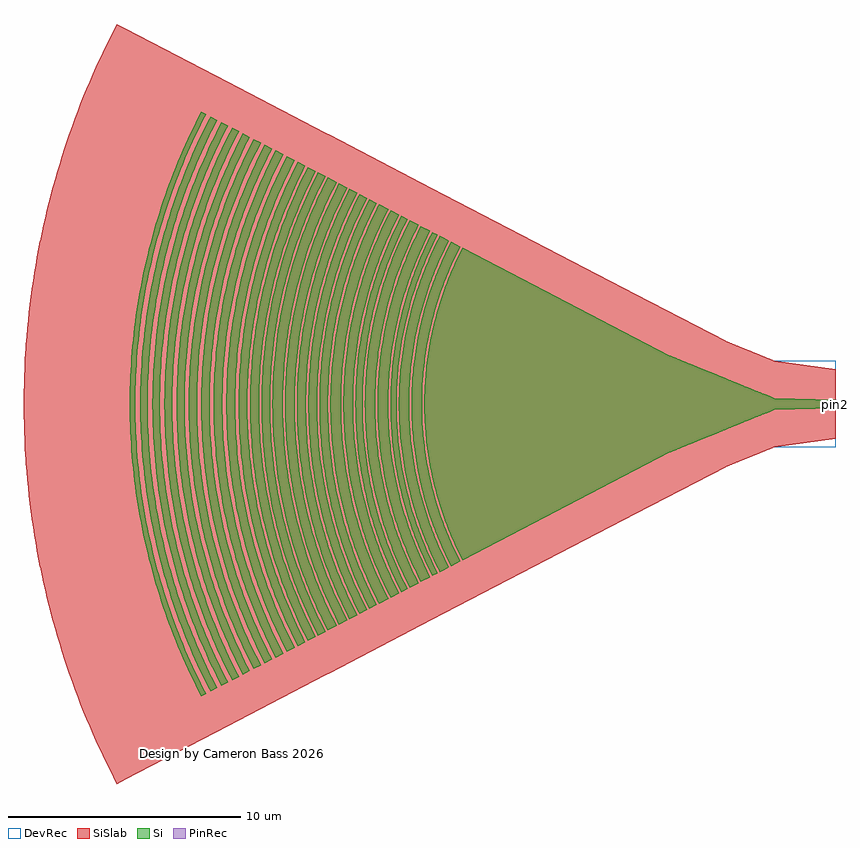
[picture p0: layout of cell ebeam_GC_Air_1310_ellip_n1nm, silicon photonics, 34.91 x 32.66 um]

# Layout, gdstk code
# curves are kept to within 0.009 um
import gdstk
lib = gdstk.Library(unit=1e-6, precision=1e-09)
def P(c, l, *ps):  # polygons
    for p in ps: c.add(gdstk.Polygon(p, *l))
Si = (1, 0)
PinRec = (1, 10)
SiSlab = (2, 0)
DevRec = (68, 0)

ebeam_gc_air_1310_ellip_ = lib.new_cell('ebeam_GC_Air_1310_ellip_n1nm')
P(ebeam_gc_air_1310_ellip_, Si, [(-16.048,-6.715),(-16.409,-5.969),(-16.783,-5.053),(-17.012,-4.384),(-17.277,-3.431),(-17.453,-2.601),(-17.58,-1.763),(-17.658,-0.918),(-17.686,-0.071),(-17.658,0.918),(-17.58,1.763),(-17.453,2.602),(-17.277,3.431),(-17.012,4.384),(-16.783,5.053),(-16.409,5.969),(-16.048,6.715),(-7.151,2.082),(-3.185,0.463),(-2.877,0.349),(-2.692,0.261),(-2.649,0.249),(0,0.175),(0,-0.175),(-2.677,-0.256),(-2.846,-0.336),(-3.2,-0.469),(-7.123,-2.069)],
  [(-16.54,-6.97),(-16.912,-6.199),(-17.249,-5.385),(-17.538,-4.553),(-17.778,-3.706),(-17.969,-2.846),(-18.109,-1.976),(-18.208,-0.954),(-18.238,-0.073),(-18.217,0.807),(-18.127,1.831),(-17.996,2.702),(-17.813,3.563),(-17.704,3.99),(-17.538,4.553),(-17.249,5.385),(-16.912,6.199),(-16.54,6.971),(-16.138,6.762),(-16.502,6.01),(-16.829,5.221),(-17.109,4.415),(-17.342,3.593),(-17.553,2.62),(-17.681,1.775),(-17.768,0.783),(-17.788,0.071),(-17.768,-0.783),(-17.681,-1.775),(-17.553,-2.619),(-17.376,-3.455),(-17.151,-4.279),(-16.879,-5.088),(-16.502,-6.01),(-16.138,-6.762)],
  [(-17.021,-7.221),(-17.406,-6.423),(-17.755,-5.58),(-18.054,-4.718),(-18.303,-3.84),(-18.5,-2.949),(-18.645,-2.048),(-18.738,-1.14),(-18.765,-0.684),(-18.779,-0.076),(-18.757,0.836),(-18.682,1.746),(-18.625,2.199),(-18.528,2.799),(-18.339,3.692),(-18.185,4.281),(-18.054,4.718),(-17.755,5.58),(-17.406,6.423),(-17.021,7.221),(-16.629,7.018),(-17.065,6.105),(-17.396,5.283),(-17.679,4.442),(-17.913,3.587),(-18.096,2.72),(-18.229,1.843),(-18.31,0.96),(-18.34,0.074),(-18.319,-0.812),(-18.229,-1.843),(-18.096,-2.72),(-17.913,-3.587),(-17.679,-4.442),(-17.396,-5.283),(-17.065,-6.105),(-16.629,-7.018)],
  [(-17.341,-7.388),(-17.735,-6.571),(-18.092,-5.709),(-18.398,-4.827),(-18.653,-3.929),(-18.855,-3.017),(-18.936,-2.557),(-19.023,-1.941),(-19.109,-1.011),(-19.14,-0.078),(-19.118,0.856),(-19.023,1.941),(-18.883,2.864),(-18.69,3.778),(-18.444,4.678),(-18.147,5.563),(-17.979,5.999),(-17.735,6.572),(-17.341,7.388),(-17.111,7.268),(-17.561,6.324),(-17.795,5.759),(-17.956,5.329),(-18.105,4.894),(-18.283,4.308),(-18.402,3.865),(-18.54,3.268),(-18.704,2.364),(-18.8,1.605),(-18.859,0.842),(-18.881,0.077),(-18.866,-0.689),(-18.815,-1.452),(-18.704,-2.364),(-18.571,-3.118),(-18.474,-3.567),(-18.324,-4.16),(-18.197,-4.602),(-18.007,-5.184),(-17.795,-5.758),(-17.561,-6.324),(-17.111,-7.268)],
  [(-17.837,-7.646),(-18.309,-6.654),(-18.67,-5.758),(-18.978,-4.842),(-19.232,-3.91),(-19.432,-2.964),(-19.576,-2.009),(-19.665,-1.046),(-19.698,-0.08),(-19.674,0.886),(-19.595,1.849),(-19.46,2.806),(-19.339,3.439),(-19.232,3.91),(-18.978,4.842),(-18.67,5.758),(-18.496,6.209),(-18.244,6.802),(-17.837,7.646),(-17.431,7.435),(-17.892,6.47),(-18.187,5.745),(-18.496,4.857),(-18.752,3.954),(-18.984,2.882),(-19.124,1.953),(-19.188,1.33),(-19.22,0.861),(-19.242,0.078),(-19.22,-0.861),(-19.188,-1.33),(-19.124,-1.953),(-18.984,-2.882),(-18.789,-3.801),(-18.542,-4.708),(-18.242,-5.598),(-17.892,-6.47),(-17.431,-7.435)],
  [(-18.317,-7.896),(-18.738,-7.023),(-18.998,-6.411),(-19.177,-5.946),(-19.496,-5),(-19.758,-4.037),(-19.964,-3.061),(-20.114,-2.074),(-20.205,-1.081),(-20.239,-0.083),(-20.215,0.915),(-20.133,1.909),(-19.993,2.897),(-19.797,3.876),(-19.634,4.521),(-19.496,5),(-19.177,5.946),(-18.998,6.411),(-18.738,7.024),(-18.317,7.896),(-17.928,7.694),(-18.339,6.843),(-18.531,6.397),(-18.767,5.793),(-19.077,4.872),(-19.333,3.934),(-19.534,2.982),(-19.679,2.021),(-19.769,1.053),(-19.802,0.081),(-19.778,-0.891),(-19.698,-1.86),(-19.562,-2.823),(-19.473,-3.301),(-19.333,-3.933),(-19.077,-4.871),(-18.767,-5.793),(-18.531,-6.396),(-18.339,-6.843),(-17.928,-7.694)],
  [(-18.679,-8.084),(-19.11,-7.19),(-19.501,-6.246),(-19.836,-5.281),(-20.028,-4.628),(-20.155,-4.133),(-20.366,-3.134),(-20.519,-2.123),(-20.613,-1.106),(-20.647,-0.085),(-20.623,0.936),(-20.539,1.955),(-20.396,2.966),(-20.268,3.635),(-20.155,4.133),(-20.028,4.628),(-19.836,5.281),(-19.501,6.246),(-19.11,7.19),(-18.679,8.084),(-18.407,7.944),(-18.692,7.369),(-18.899,6.912),(-19.155,6.294),(-19.331,5.824),(-19.494,5.349),(-19.688,4.709),(-19.818,4.224),(-19.969,3.572),(-20.148,2.584),(-20.253,1.754),(-20.318,0.92),(-20.342,0.084),(-20.318,-0.92),(-20.253,-1.754),(-20.148,-2.584),(-20.003,-3.408),(-19.897,-3.898),(-19.733,-4.547),(-19.545,-5.189),(-19.387,-5.666),(-19.155,-6.293),(-18.966,-6.758),(-18.692,-7.369),(-18.407,-7.943)],
  [(-19.137,-8.323),(-19.581,-7.403),(-19.856,-6.757),(-20.045,-6.267),(-20.38,-5.27),(-20.657,-4.255),(-20.874,-3.226),(-21.032,-2.186),(-21.128,-1.139),(-21.164,-0.088),(-21.154,0.614),(-21.128,1.139),(-21.032,2.186),(-20.874,3.226),(-20.657,4.255),(-20.38,5.27),(-20.045,6.267),(-19.652,7.243),(-19.435,7.721),(-19.137,8.323),(-18.77,8.132),(-19.205,7.232),(-19.473,6.601),(-19.657,6.122),(-19.985,5.148),(-20.256,4.157),(-20.468,3.152),(-20.622,2.136),(-20.716,1.113),(-20.751,0.086),(-20.726,-0.942),(-20.642,-1.966),(-20.498,-2.983),(-20.404,-3.488),(-20.256,-4.157),(-19.985,-5.148),(-19.657,-6.122),(-19.274,-7.075),(-19.062,-7.543),(-18.77,-8.132)],
  [(-19.636,-8.583),(-20.092,-7.636),(-20.507,-6.634),(-20.862,-5.609),(-21.158,-4.565),(-21.392,-3.506),(-21.565,-2.435),(-21.675,-1.355),(-21.706,-0.814),(-21.724,-0.09),(-21.698,0.994),(-21.608,2.076),(-21.457,3.15),(-21.321,3.86),(-21.201,4.39),(-20.916,5.436),(-20.692,6.124),(-20.507,6.634),(-20.092,7.636),(-19.636,8.583),(-19.228,8.371),(-19.675,7.444),(-20.08,6.467),(-20.26,5.97),(-20.479,5.3),(-20.715,4.45),(-20.943,3.418),(-21.112,2.374),(-21.19,1.673),(-21.231,1.145),(-21.267,0.088),(-21.262,-0.441),(-21.231,-1.145),(-21.134,-2.198),(-20.976,-3.244),(-20.757,-4.279),(-20.479,-5.299),(-20.26,-5.97),(-20.08,-6.467),(-19.675,-7.444),(-19.228,-8.371)],
  [(-20.051,-8.799),(-20.52,-7.826),(-20.945,-6.799),(-21.31,-5.748),(-21.613,-4.678),(-21.853,-3.593),(-22.03,-2.495),(-22.143,-1.389),(-22.175,-0.834),(-22.193,-0.093),(-22.166,1.019),(-22.075,2.127),(-22.005,2.679),(-21.887,3.411),(-21.657,4.499),(-21.364,5.571),(-21.01,6.625),(-20.595,7.657),(-20.365,8.163),(-20.051,8.799),(-19.73,8.632),(-19.96,8.172),(-20.264,7.512),(-20.475,7.009),(-20.733,6.329),(-20.965,5.64),(-21.17,4.942),(-21.347,4.237),(-21.463,3.703),(-21.62,2.808),(-21.734,1.906),(-21.805,1),(-21.831,0.091),(-21.821,-0.636),(-21.752,-1.725),(-21.647,-2.628),(-21.463,-3.703),(-21.347,-4.236),(-21.17,-4.942),(-20.965,-5.639),(-20.733,-6.329),(-20.475,-7.008),(-20.264,-7.511),(-19.96,-8.172),(-19.73,-8.632)],
  [(-20.471,-9.018),(-20.953,-8.019),(-21.389,-6.966),(-21.762,-5.89),(-22.073,-4.794),(-22.204,-4.239),(-22.354,-3.495),(-22.524,-2.368),(-22.629,-1.234),(-22.668,-0.095),(-22.64,1.044),(-22.546,2.18),(-22.387,3.308),(-22.283,3.868),(-22.118,4.61),(-21.926,5.344),(-21.762,5.89),(-21.389,6.966),(-20.953,8.019),(-20.471,9.018),(-20.142,8.847),(-20.459,8.206),(-20.764,7.526),(-21.042,6.835),(-21.233,6.309),(-21.408,5.779),(-21.618,5.064),(-21.801,4.341),(-21.919,3.795),(-22.08,2.877),(-22.197,1.953),(-22.269,1.024),(-22.296,0.093),(-22.278,-0.838),(-22.215,-1.768),(-22.107,-2.693),(-21.919,-3.795),(-21.801,-4.341),(-21.618,-5.064),(-21.408,-5.779),(-21.233,-6.309),(-20.975,-7.008),(-20.764,-7.526),(-20.459,-8.206),(-20.142,-8.847)],
  [(-20.906,-9.244),(-21.401,-8.217),(-21.847,-7.139),(-22.23,-6.036),(-22.549,-4.913),(-22.683,-4.344),(-22.837,-3.581),(-23.012,-2.427),(-23.119,-1.264),(-23.158,-0.097),(-23.153,0.487),(-23.119,1.264),(-23.012,2.427),(-22.837,3.582),(-22.595,4.724),(-22.288,5.85),(-21.916,6.957),(-21.48,8.04),(-21.238,8.571),(-20.906,9.244),(-20.566,9.067),(-20.893,8.407),(-21.205,7.71),(-21.49,7.002),(-21.686,6.464),(-21.866,5.92),(-22.081,5.188),(-22.224,4.633),(-22.389,3.888),(-22.554,2.948),(-22.674,2.001),(-22.748,1.05),(-22.776,0.096),(-22.757,-0.859),(-22.693,-1.811),(-22.582,-2.759),(-22.389,-3.888),(-22.224,-4.633),(-22.081,-5.188),(-21.866,-5.92),(-21.686,-6.464),(-21.49,-7.002),(-21.205,-7.71),(-20.893,-8.407),(-20.566,-9.067)],
  [(-21.357,-9.479),(-21.698,-8.79),(-21.945,-8.244),(-22.177,-7.692),(-22.392,-7.134),(-22.774,-5.999),(-23.089,-4.844),(-23.337,-3.673),(-23.516,-2.489),(-23.626,-1.296),(-23.666,-0.1),(-23.661,0.499),(-23.626,1.297),(-23.516,2.489),(-23.337,3.673),(-23.089,4.844),(-22.774,5.999),(-22.392,7.134),(-22.177,7.693),(-21.945,8.245),(-21.698,8.79),(-21.357,9.479),(-20.996,9.291),(-21.495,8.259),(-21.944,7.175),(-22.329,6.066),(-22.497,5.504),(-22.695,4.747),(-22.938,3.599),(-23.114,2.439),(-23.221,1.271),(-23.25,0.685),(-23.261,0.098),(-23.242,-0.88),(-23.176,-1.856),(-23.063,-2.827),(-22.865,-3.983),(-22.695,-4.747),(-22.497,-5.504),(-22.329,-6.066),(-22.079,-6.808),(-21.801,-7.539),(-21.574,-8.08),(-21.247,-8.79),(-20.996,-9.291)],
  [(-21.845,-9.732),(-22.105,-9.212),(-22.447,-8.467),(-22.685,-7.9),(-22.906,-7.326),(-23.111,-6.747),(-23.298,-6.161),(-23.469,-5.57),(-23.622,-4.975),(-23.758,-4.375),(-23.876,-3.772),(-23.977,-3.165),(-24.06,-2.556),(-24.173,-1.331),(-24.203,-0.717),(-24.214,-0.102),(-24.185,1.127),(-24.084,2.353),(-23.977,3.165),(-23.876,3.772),(-23.758,4.375),(-23.622,4.975),(-23.469,5.571),(-23.298,6.161),(-23.111,6.747),(-22.906,7.327),(-22.685,7.9),(-22.447,8.467),(-22.193,9.027),(-21.845,9.733),(-21.447,9.526),(-21.958,8.468),(-22.418,7.357),(-22.813,6.22),(-23.141,5.063),(-23.28,4.477),(-23.401,3.888),(-23.593,2.7),(-23.715,1.503),(-23.75,0.902),(-23.769,0.1),(-23.74,-1.103),(-23.682,-1.903),(-23.618,-2.501),(-23.438,-3.691),(-23.189,-4.868),(-22.872,-6.029),(-22.489,-7.169),(-22.039,-8.285),(-21.791,-8.833),(-21.447,-9.526)],
  [(-22.259,-9.948),(-22.79,-8.845),(-23.039,-8.268),(-23.271,-7.684),(-23.485,-7.094),(-23.745,-6.297),(-24.076,-5.085),(-24.335,-3.855),(-24.438,-3.235),(-24.523,-2.612),(-24.59,-1.987),(-24.639,-1.361),(-24.681,-0.105),(-24.675,0.524),(-24.651,1.152),(-24.548,2.404),(-24.469,3.028),(-24.372,3.649),(-24.257,4.267),(-24.076,5.085),(-23.745,6.297),(-23.553,6.896),(-23.271,7.684),(-23.039,8.269),(-22.79,8.846),(-22.259,9.948),(-21.935,9.78),(-22.286,9.07),(-22.541,8.508),(-22.856,7.747),(-23.073,7.168),(-23.273,6.584),(-23.512,5.796),(-23.672,5.199),(-23.858,4.396),(-23.977,3.79),(-24.078,3.18),(-24.207,2.159),(-24.287,1.132),(-24.317,0.103),(-24.311,-0.515),(-24.287,-1.132),(-24.207,-2.159),(-24.078,-3.18),(-23.977,-3.79),(-23.858,-4.396),(-23.672,-5.199),(-23.512,-5.795),(-23.273,-6.583),(-23.073,-7.168),(-22.78,-7.938),(-22.541,-8.507),(-22.286,-9.07),(-21.935,-9.78)],
  [(-22.693,-10.174),(-22.967,-9.627),(-23.238,-9.044),(-23.493,-8.454),(-23.73,-7.857),(-23.949,-7.253),(-24.151,-6.643),(-24.393,-5.821),(-24.553,-5.199),(-24.695,-4.572),(-24.818,-3.942),(-24.924,-3.308),(-25.011,-2.671),(-25.079,-2.032),(-25.129,-1.391),(-25.16,-0.75),(-25.172,-0.107),(-25.166,0.536),(-25.141,1.178),(-25.098,1.819),(-25.036,2.458),(-24.955,3.096),(-24.856,3.731),(-24.695,4.572),(-24.553,5.199),(-24.393,5.821),(-24.214,6.439),(-24.018,7.051),(-23.805,7.657),(-23.574,8.256),(-23.325,8.849),(-22.967,9.627),(-22.693,10.174),(-22.352,9.997),(-22.712,9.27),(-22.973,8.695),(-23.295,7.917),(-23.516,7.326),(-23.785,6.528),(-23.965,5.923),(-24.129,5.313),(-24.319,4.493),(-24.511,3.459),(-24.654,2.416),(-24.745,1.367),(-24.776,0.737),(-24.788,0.105),(-24.768,-0.947),(-24.731,-1.577),(-24.676,-2.206),(-24.544,-3.25),(-24.361,-4.287),(-24.228,-4.904),(-24.022,-5.72),(-23.785,-6.528),(-23.516,-7.326),(-23.295,-7.917),(-22.973,-8.695),(-22.712,-9.27),(-22.352,-9.997)],
  [(-23.125,-10.399),(-23.408,-9.834),(-23.685,-9.239),(-23.945,-8.636),(-24.188,-8.026),(-24.412,-7.409),(-24.619,-6.786),(-24.807,-6.157),(-24.977,-5.523),(-25.128,-4.885),(-25.261,-4.242),(-25.375,-3.595),(-25.47,-2.946),(-25.546,-2.294),(-25.618,-1.421),(-25.65,-0.766),(-25.662,-0.109),(-25.656,0.547),(-25.631,1.203),(-25.586,1.858),(-25.523,2.511),(-25.44,3.163),(-25.301,4.027),(-25.174,4.671),(-25.029,5.311),(-24.865,5.947),(-24.683,6.577),(-24.483,7.203),(-24.265,7.822),(-24.028,8.434),(-23.774,9.039),(-23.503,9.637),(-23.125,10.399),(-22.8,10.231),(-23.17,9.482),(-23.523,8.697),(-23.767,8.099),(-23.993,7.494),(-24.268,6.678),(-24.453,6.059),(-24.672,5.226),(-24.815,4.596),(-25.012,3.538),(-25.105,2.899),(-25.18,2.257),(-25.263,1.184),(-25.295,0.108),(-25.274,-0.969),(-25.18,-2.257),(-25.012,-3.538),(-24.815,-4.596),(-24.672,-5.226),(-24.453,-6.059),(-24.268,-6.678),(-23.993,-7.494),(-23.767,-8.099),(-23.437,-8.894),(-23.17,-9.482),(-22.8,-10.23)],
  [(-23.594,-10.644),(-23.887,-10.059),(-24.171,-9.451),(-24.437,-8.834),(-24.685,-8.21),(-24.915,-7.579),(-25.126,-6.942),(-25.319,-6.298),(-25.493,-5.65),(-25.648,-4.996),(-25.783,-4.339),(-25.935,-3.456),(-26.026,-2.791),(-26.097,-2.123),(-26.149,-1.454),(-26.182,-0.783),(-26.195,-0.112),(-26.188,0.56),(-26.162,1.231),(-26.117,1.901),(-26.052,2.569),(-25.967,3.235),(-25.863,3.899),(-25.695,4.778),(-25.546,5.433),(-25.379,6.083),(-25.192,6.728),(-24.987,7.368),(-24.764,8.001),(-24.522,8.627),(-24.262,9.246),(-23.984,9.858),(-23.594,10.644),(-23.258,10.469),(-23.545,9.897),(-23.913,9.097),(-24.169,8.488),(-24.482,7.665),(-24.696,7.04),(-24.953,6.197),(-25.177,5.345),(-25.323,4.701),(-25.525,3.618),(-25.674,2.527),(-25.737,1.87),(-25.782,1.211),(-25.814,0.11),(-25.793,-0.991),(-25.755,-1.65),(-25.697,-2.308),(-25.559,-3.401),(-25.45,-4.052),(-25.323,-4.701),(-25.177,-5.345),(-24.953,-6.197),(-24.696,-7.039),(-24.482,-7.664),(-24.169,-8.488),(-23.913,-9.097),(-23.545,-9.897),(-23.258,-10.469)],
  [(-24.077,-10.895),(-24.38,-10.291),(-24.67,-9.668),(-24.943,-9.037),(-25.197,-8.399),(-25.432,-7.754),(-25.716,-6.883),(-25.907,-6.223),(-26.078,-5.558),(-26.23,-4.888),(-26.363,-4.214),(-26.476,-3.536),(-26.569,-2.855),(-26.642,-2.172),(-26.695,-1.487),(-26.729,-0.801),(-26.742,-0.114),(-26.735,0.573),(-26.709,1.259),(-26.662,1.944),(-26.569,2.856),(-26.476,3.536),(-26.363,4.214),(-26.23,4.888),(-26.078,5.558),(-25.907,6.223),(-25.716,6.883),(-25.432,7.754),(-25.197,8.399),(-24.943,9.038),(-24.67,9.668),(-24.38,10.291),(-24.077,10.895),(-23.746,10.723),(-24.14,9.928),(-24.42,9.312),(-24.766,8.479),(-25.003,7.846),(-25.291,6.991),(-25.485,6.343),(-25.715,5.471),(-25.864,4.812),(-26.071,3.704),(-26.224,2.587),(-26.322,1.464),(-26.355,0.789),(-26.368,0.113),(-26.346,-1.014),(-26.306,-1.689),(-26.248,-2.363),(-26.106,-3.481),(-25.91,-4.591),(-25.767,-5.252),(-25.546,-6.126),(-25.291,-6.991),(-25.003,-7.846),(-24.766,-8.479),(-24.42,-9.312),(-24.043,-10.131),(-23.746,-10.723)],
  [(-24.547,-11.14),(-24.859,-10.519),(-25.156,-9.882),(-25.435,-9.237),(-25.694,-8.585),(-25.935,-7.925),(-26.156,-7.259),(-26.42,-6.361),(-26.596,-5.681),(-26.751,-4.996),(-26.887,-4.307),(-27.002,-3.614),(-27.097,-2.919),(-27.172,-2.22),(-27.227,-1.52),(-27.261,-0.819),(-27.274,-0.117),(-27.261,0.819),(-27.227,1.521),(-27.172,2.221),(-27.097,2.919),(-27.002,3.614),(-26.887,4.307),(-26.751,4.996),(-26.596,5.681),(-26.42,6.361),(-26.156,7.259),(-25.935,7.925),(-25.694,8.585),(-25.435,9.238),(-25.156,9.882),(-24.859,10.519),(-24.547,11.14),(-24.227,10.974),(-24.634,10.155),(-24.921,9.525),(-25.189,8.887),(-25.517,8.025),(-25.812,7.151),(-26.01,6.489),(-26.19,5.82),(-26.398,4.922),(-26.61,3.789),(-26.766,2.646),(-26.867,1.498),(-26.9,0.807),(-26.913,0.115),(-26.907,-0.576),(-26.88,-1.268),(-26.79,-2.417),(-26.71,-3.104),(-26.61,-3.789),(-26.398,-4.922),(-26.19,-5.82),(-26.01,-6.488),(-25.812,-7.151),(-25.517,-8.025),(-25.189,-8.887),(-24.921,-9.525),(-24.634,-10.155),(-24.227,-10.974)],
  [(-25.02,-11.386),(-25.34,-10.749),(-25.644,-10.099),(-25.928,-9.44),(-26.194,-8.773),(-26.439,-8.099),(-26.665,-7.418),(-26.872,-6.73),(-27.058,-6.037),(-27.223,-5.339),(-27.369,-4.636),(-27.493,-3.93),(-27.598,-3.22),(-27.681,-2.507),(-27.744,-1.792),(-27.795,-0.837),(-27.809,-0.12),(-27.802,0.598),(-27.774,1.315),(-27.725,2.031),(-27.656,2.745),(-27.565,3.457),(-27.413,4.401),(-27.274,5.106),(-27.115,5.805),(-26.936,6.5),(-26.736,7.19),(-26.517,7.873),(-26.194,8.773),(-25.928,9.44),(-25.644,10.099),(-25.34,10.749),(-25.02,11.386),(-24.707,11.224),(-25.125,10.383),(-25.418,9.739),(-25.692,9.087),(-26.028,8.206),(-26.257,7.537),(-26.532,6.635),(-26.716,5.951),(-26.929,5.033),(-27.145,3.874),(-27.305,2.706),(-27.374,2.002),(-27.422,1.296),(-27.456,0.118),(-27.449,-0.589),(-27.422,-1.296),(-27.33,-2.471),(-27.182,-3.641),(-27.066,-4.339),(-26.929,-5.033),(-26.716,-5.951),(-26.532,-6.634),(-26.257,-7.537),(-26.028,-8.206),(-25.692,-9.087),(-25.418,-9.739),(-25.023,-10.596),(-24.707,-11.223)],
  [(-25.482,-11.626),(-25.809,-10.975),(-26.119,-10.311),(-26.409,-9.638),(-26.68,-8.957),(-26.931,-8.269),(-27.162,-7.574),(-27.373,-6.872),(-27.563,-6.164),(-27.784,-5.213),(-27.925,-4.494),(-28.046,-3.771),(-28.145,-3.045),(-28.223,-2.317),(-28.28,-1.586),(-28.315,-0.855),(-28.33,-0.122),(-28.315,0.855),(-28.28,1.586),(-28.223,2.317),(-28.145,3.045),(-28.046,3.771),(-27.925,4.494),(-27.784,5.213),(-27.621,5.927),(-27.438,6.637),(-27.235,7.34),(-27.011,8.038),(-26.766,8.729),(-26.502,9.412),(-26.218,10.088),(-25.809,10.975),(-25.482,11.626),(-25.181,11.47),(-25.609,10.61),(-25.908,9.952),(-26.278,9.062),(-26.532,8.385),(-26.84,7.472),(-27.047,6.78),(-27.235,6.081),(-27.402,5.378),(-27.548,4.67),(-27.674,3.959),(-27.837,2.765),(-27.907,2.046),(-27.956,1.325),(-27.991,0.121),(-27.968,-1.084),(-27.926,-1.805),(-27.863,-2.525),(-27.779,-3.243),(-27.674,-3.958),(-27.453,-5.142),(-27.235,-6.081),(-27.047,-6.779),(-26.84,-7.472),(-26.532,-8.385),(-26.278,-9.062),(-25.908,-9.952),(-25.609,-10.61),(-25.181,-11.47)],
  [(-25.947,-11.868),(-26.281,-11.203),(-26.598,-10.525),(-26.894,-9.839),(-27.171,-9.144),(-27.427,-8.441),(-27.663,-7.731),(-27.878,-7.015),(-28.072,-6.292),(-28.297,-5.321),(-28.442,-4.587),(-28.564,-3.849),(-28.666,-3.108),(-28.746,-2.365),(-28.804,-1.619),(-28.84,-0.872),(-28.854,-0.125),(-28.84,0.872),(-28.804,1.619),(-28.746,2.365),(-28.666,3.109),(-28.564,3.85),(-28.442,4.587),(-28.297,5.321),(-28.131,6.05),(-27.945,6.775),(-27.737,7.493),(-27.508,8.205),(-27.259,8.91),(-26.989,9.608),(-26.598,10.525),(-26.281,11.203),(-25.947,11.869),(-25.651,11.715),(-25.982,11.058),(-26.394,10.164),(-26.68,9.483),(-27.031,8.563),(-27.27,7.865),(-27.558,6.924),(-27.749,6.211),(-27.972,5.252),(-28.197,4.043),(-28.364,2.824),(-28.436,2.089),(-28.486,1.353),(-28.522,0.123),(-28.514,-0.615),(-28.486,-1.353),(-28.39,-2.579),(-28.235,-3.799),(-28.114,-4.527),(-27.972,-5.252),(-27.808,-5.972),(-27.558,-6.923),(-27.27,-7.865),(-27.031,-8.563),(-26.68,-9.483),(-26.394,-10.163),(-25.982,-11.057),(-25.651,-11.715)],
  [(-26.406,-12.107),(-26.747,-11.428),(-27.07,-10.737),(-27.372,-10.036),(-27.654,-9.327),(-27.916,-8.61),(-28.156,-7.886),(-28.375,-7.155),(-28.573,-6.419),(-28.749,-5.676),(-28.904,-4.929),(-29.037,-4.178),(-29.147,-3.423),(-29.236,-2.665),(-29.303,-1.905),(-29.357,-0.89),(-29.372,-0.127),(-29.364,0.636),(-29.335,1.398),(-29.283,2.159),(-29.209,2.919),(-29.113,3.675),(-28.951,4.679),(-28.803,5.428),(-28.634,6.172),(-28.444,6.911),(-28.232,7.644),(-27.998,8.37),(-27.744,9.089),(-27.469,9.801),(-27.07,10.737),(-26.747,11.428),(-26.406,12.107),(-26.12,11.959),(-26.458,11.288),(-26.777,10.605),(-27.076,9.913),(-27.443,8.978),(-27.694,8.267),(-27.997,7.309),(-28.262,6.34),(-28.436,5.607),(-28.589,4.869),(-28.72,4.127),(-28.89,2.883),(-29,1.632),(-29.036,0.879),(-29.051,0.126),(-29.043,-0.628),(-29.014,-1.381),(-28.917,-2.633),(-28.829,-3.381),(-28.72,-4.127),(-28.589,-4.869),(-28.436,-5.607),(-28.262,-6.34),(-27.997,-7.309),(-27.694,-8.267),(-27.443,-8.977),(-27.076,-9.913),(-26.777,-10.605),(-26.458,-11.287),(-26.12,-11.959)],
  [(-26.876,-12.352),(-27.329,-11.439),(-27.651,-10.73),(-27.953,-10.011),(-28.234,-9.284),(-28.493,-8.55),(-28.731,-7.808),(-28.947,-7.059),(-29.142,-6.304),(-29.314,-5.544),(-29.464,-4.78),(-29.592,-4.011),(-29.698,-3.239),(-29.78,-2.464),(-29.841,-1.687),(-29.879,-0.909),(-29.894,-0.13),(-29.879,0.909),(-29.841,1.687),(-29.78,2.464),(-29.698,3.239),(-29.592,4.011),(-29.464,4.78),(-29.314,5.545),(-29.142,6.304),(-28.947,7.059),(-28.731,7.808),(-28.493,8.55),(-28.234,9.285),(-27.953,10.011),(-27.651,10.73),(-27.329,11.439),(-26.876,12.353),(-26.587,12.203),(-27.043,11.286),(-27.362,10.586),(-27.755,9.639),(-28.025,8.919),(-28.274,8.192),(-28.502,7.457),(-28.709,6.717),(-28.95,5.721),(-29.198,4.463),(-29.317,3.704),(-29.414,2.941),(-29.488,2.176),(-29.54,1.409),(-29.578,0.128),(-29.553,-1.153),(-29.508,-1.92),(-29.441,-2.686),(-29.28,-3.957),(-29.153,-4.716),(-29.005,-5.47),(-28.773,-6.468),(-28.573,-7.211),(-28.353,-7.948),(-28.025,-8.919),(-27.755,-9.639),(-27.362,-10.586),(-27.043,-11.286),(-26.587,-12.202)],
  [(-27.274,-12.56),(-27.628,-11.853),(-27.963,-11.136),(-28.276,-10.41),(-28.568,-9.674),(-28.825,-8.972),(-29.088,-8.18),(-29.315,-7.422),(-29.52,-6.658),(-29.702,-5.888),(-29.862,-5.113),(-30,-4.333),(-30.115,-3.551),(-30.232,-2.502),(-30.288,-1.794),(-30.332,-0.923),(-30.347,-0.132),(-30.339,0.659),(-30.309,1.45),(-30.255,2.24),(-30.148,3.289),(-30.041,4.073),(-29.911,4.854),(-29.758,5.63),(-29.583,6.402),(-29.386,7.168),(-29.166,7.928),(-28.925,8.682),(-28.661,9.428),(-28.376,10.166),(-27.963,11.137),(-27.628,11.854),(-27.274,12.56),(-27.066,12.452),(-27.41,11.766),(-27.742,11.055),(-28.152,10.091),(-28.435,9.358),(-28.697,8.618),(-28.937,7.87),(-29.223,6.862),(-29.411,6.1),(-29.676,4.818),(-29.805,4.043),(-29.911,3.265),(-29.995,2.484),(-30.056,1.701),(-30.094,0.916),(-30.109,0.131),(-30.084,-1.178),(-30.038,-1.962),(-29.969,-2.744),(-29.878,-3.524),(-29.764,-4.302),(-29.628,-5.075),(-29.469,-5.844),(-29.288,-6.609),(-29.085,-7.367),(-28.859,-8.12),(-28.525,-9.112),(-28.249,-9.848),(-27.848,-10.815),(-27.523,-11.53),(-27.066,-12.452)])
P(ebeam_gc_air_1310_ellip_, SiSlab, [(-30.904,-16.329),(-31.366,-15.41),(-31.801,-14.477),(-32.208,-13.533),(-32.588,-12.577),(-32.94,-11.61),(-33.264,-10.634),(-33.559,-9.648),(-33.825,-8.655),(-34.062,-7.654),(-34.27,-6.647),(-34.449,-5.634),(-34.598,-4.616),(-34.717,-3.594),(-34.807,-2.569),(-34.867,-1.543),(-34.9,-0.171),(-34.89,0.857),(-34.85,1.885),(-34.781,2.912),(-34.681,3.935),(-34.552,4.956),(-34.393,5.972),(-34.135,7.319),(-33.907,8.322),(-33.651,9.318),(-33.365,10.307),(-33.051,11.286),(-32.709,12.256),(-32.338,13.216),(-31.94,14.164),(-31.366,15.41),(-30.904,16.329),(-4.744,2.708),(-2.65,1.855),(0,1.5),(0,-1.5),(-2.65,-1.855),(-4.728,-2.7)])
P(ebeam_gc_air_1310_ellip_, DevRec, [(-30.904,-16.329),(-31.366,-15.41),(-31.801,-14.477),(-32.208,-13.533),(-32.588,-12.577),(-32.94,-11.61),(-33.264,-10.634),(-33.559,-9.648),(-33.825,-8.655),(-34.062,-7.654),(-34.27,-6.647),(-34.449,-5.634),(-34.598,-4.616),(-34.717,-3.594),(-34.807,-2.569),(-34.867,-1.543),(-34.9,-0.171),(-34.89,0.857),(-34.85,1.885),(-34.781,2.912),(-34.681,3.935),(-34.552,4.956),(-34.393,5.972),(-34.135,7.319),(-33.907,8.322),(-33.651,9.318),(-33.365,10.307),(-33.051,11.286),(-32.709,12.256),(-32.338,13.216),(-31.94,14.164),(-31.366,15.41),(-30.904,16.329),(-4.744,2.708),(-2.65,1.855),(0,1.855),(0,-1.855),(-2.65,-1.855),(-4.728,-2.7)])
ebeam_gc_air_1310_ellip_.add(gdstk.FlexPath([(-0.01,0),(0.01,0)], 0.35, ends="flush", simple_path=True, layer=1, datatype=10))  # PinRec
ebeam_gc_air_1310_ellip_.add(gdstk.Label('pin2', (0,0), layer=1, texttype=10))
ebeam_gc_air_1310_ellip_.add(gdstk.Label('Design by Cameron Bass 2026', (-25.94,-15.02), layer=10, texttype=0))

lib.write_gds('ebeam_GC_Air_1310_ellip_n1nm.gds')
